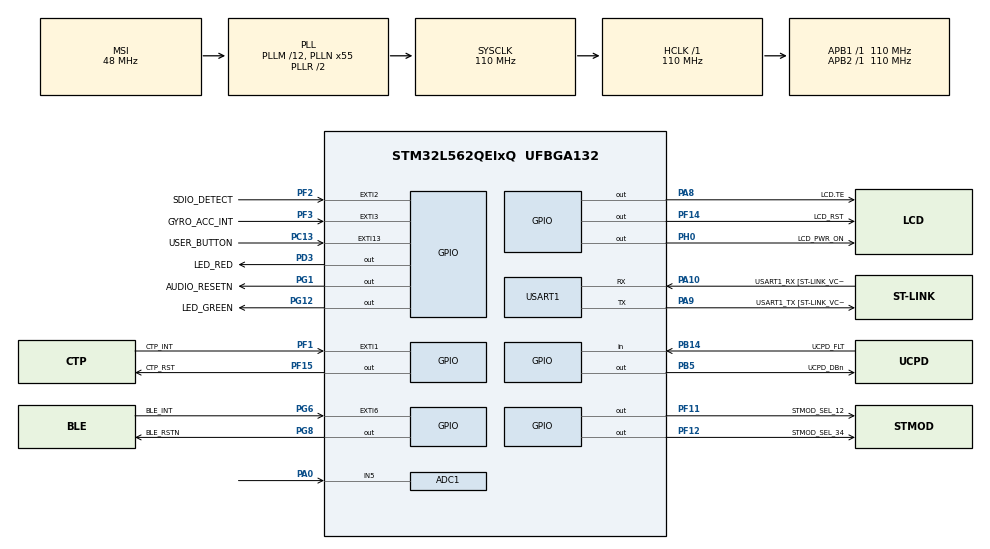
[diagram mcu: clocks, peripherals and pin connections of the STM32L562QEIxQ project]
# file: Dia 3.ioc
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ADC1.Channel-0\#ChannelRegularConversion=ADC_CHANNEL_5
ADC1.NbrOfConversionFlag=1
ADC1.OffsetNumber-0\#ChannelRegularConversion=ADC_OFFSET_NONE
ADC1.Rank-0\#ChannelRegularConversion=1
ADC1.SamplingTime-0\#ChannelRegularConversion=ADC_SAMPLETIME_2CYCLES_5
ADC1.master=1
Mcu.Family=STM32L5
Mcu.Name=STM32L562QEIxQ
Mcu.Package=UFBGA132
Mcu.TrustZone=disable
NVIC.PriorityGroup=NVIC_PRIORITYGROUP_3
PA0.Signal=ADCx_IN5
PA10.GPIO_Label=USART1_RX [ST-LINK_VCP_TX]
PA10.Mode=Asynchronous
PA10.Signal=USART1_RX
PA11.Signal=USB_DM
PA12.Signal=USB_DP
PA13\ (JTMS/SWDIO).Signal=DEBUG_JTMS-SWDIO
PA14\ (JTCK/SWCLK).Signal=DEBUG_JTCK-SWCLK
PA15\ (JTDI).Signal=UCPD1_CC1
PA2.Signal=OCTOSPI1_NCS
PA3.Signal=OCTOSPI1_CLK
PA4.GPIO_Label=VBUS_SENSE
PA4.Signal=ADCx_IN9
PA6.Signal=OCTOSPI1_IO3
PA7.Signal=OCTOSPI1_IO2
PA8.GPIO_Label=LCD.TE
PA8.Signal=GPIO_Output
PA9.GPIO_Label=USART1_TX [ST-LINK_VCP_RX]
PA9.Mode=Asynchronous
PA9.Signal=USART1_TX
PB0.Signal=OCTOSPI1_IO1
PB1.Signal=OCTOSPI1_IO0
PB10.Signal=LPUART1_RX
PB11.Signal=LPUART1_TX
PB12.Signal=S_DATAIN1DFSDM1
PB14.GPIO_Label=UCPD_FLT
PB14.Signal=GPIO_Input
PB15.Signal=UCPD1_CC2
PB2.Signal=OCTOSPI1_DQS
PB3\ (JTDO/TRACESWO).Signal=DEBUG_JTDO-SWO
PB5.GPIO_Label=UCPD_DBn
PB5.Signal=GPIO_Output
PB6.Signal=I2C1_SCL
PB7.Signal=I2C1_SDA
PC0.Signal=OCTOSPI1_IO7
PC1.Signal=OCTOSPI1_IO4
PC10.Signal=SDMMC1_D2
PC11.Signal=SDMMC1_D3
PC12.Signal=SDMMC1_CK
PC13.GPIO_Label=USER_BUTTON
PC13.GPIO_ModeDefaultEXTI=GPIO_MODE_IT_RISING
PC13.Signal=GPXTI13
PC14-OSC32_IN\ (PC14).Signal=RCC_OSC32_IN
PC15-OSC32_OUT\ (PC15).Signal=RCC_OSC32_OUT
PC2.Signal=OCTOSPI1_IO5
PC3.Signal=OCTOSPI1_IO6
PC8.Signal=SDMMC1_D0
PC9.Signal=SDMMC1_D1
PD0.Signal=FMC_D2_DA2
PD1.Signal=FMC_D3_DA3
PD10.Signal=FMC_D15_DA15
PD14.Signal=FMC_D0_DA0
PD15.Signal=FMC_D1_DA1
PD2.Signal=SDMMC1_CMD
PD3.GPIO_Label=LED_RED
PD3.Signal=GPIO_Output
PD4.Signal=FMC_NOE
PD5.Signal=FMC_NWE
PD7.Signal=FMC_NE1
PD8.Signal=FMC_D13_DA13
PD9.Signal=FMC_D14_DA14
PE1.GPIO_Label=LCD_BL_PWM
PE1.Signal=S_TIM17_CH1
PE10.Signal=FMC_D7_DA7
PE11.Signal=FMC_D8_DA8
PE12.Signal=FMC_D9_DA9
PE13.Signal=FMC_D10_DA10
PE14.Signal=FMC_D11_DA11
PE15.Signal=FMC_D12_DA12
PE2.Signal=SAI1_MCLK_A
PE3.Signal=SAI1_SD_B
PE4.Signal=SAI1_FS_A
PE5.Signal=SAI1_SCK_A
PE6.Signal=SAI1_SD_A
PE7.Signal=FMC_D4_DA4
PE8.Signal=FMC_D5_DA5
PE9.Signal=FMC_D6_DA6
PF0.Signal=FMC_A0
PF1.GPIO_Label=CTP_INT
PF1.Signal=GPXTI1
PF11.GPIO_Label=STMOD_SEL_12
PF11.Signal=GPIO_Output
PF12.GPIO_Label=STMOD_SEL_34
PF12.Signal=GPIO_Output
PF14.GPIO_Label=LCD_RST
PF14.Signal=GPIO_Output
PF15.GPIO_Label=CTP_RST
PF15.Signal=GPIO_Output
PF2.GPIO_Label=SDIO_DETECT
PF2.Signal=GPXTI2
PF3.GPIO_Label=GYRO_ACC_INT
PF3.Signal=GPXTI3
PG1.GPIO_Label=AUDIO_RESETN
PG1.Signal=GPIO_Output
PG12.GPIO_Label=LED_GREEN
PG12.Signal=GPIO_Output
PG2.Signal=SPI1_SCK
PG3.Signal=SPI1_MISO
PG4.Signal=SPI1_MOSI
PG5.GPIO_Label=BLE_CSN
PG5.Signal=SPI1_NSS
PG6.GPIO_Label=BLE_INT
PG6.Signal=GPXTI6
PG7.Signal=S_CKOUTDFSDM1
PG8.GPIO_Label=BLE_RSTN
PG8.Signal=GPIO_Output
PH0-OSC_IN\ (PH0).GPIO_Label=LCD_PWR_ON
PH0-OSC_IN\ (PH0).Signal=GPIO_Output
ProjectManager.HeapSize=0x200
ProjectManager.StackSize=0x400
ProjectManager.TargetToolchain=STM32CubeIDE
RCC.ADCFreq_Value=96000000
RCC.AHBFreq_Value=110000000
RCC.APB1Freq_Value=110000000
RCC.APB1TimFreq_Value=110000000
RCC.APB2Freq_Value=110000000
RCC.APB2TimFreq_Value=110000000
RCC.CK48CLockSelection=RCC_USBCLKSOURCE_MSI
RCC.CortexFreq_Value=110000000
RCC.HCLKFreq_Value=110000000
RCC.HSE_VALUE=8000000
RCC.HSI48_VALUE=48000000
RCC.HSI_VALUE=16000000
RCC.LSE_VALUE=32768
RCC.MSIClockRange=RCC_MSIRANGE_11
RCC.MSI_VALUE=48000000
RCC.PLLM=12
RCC.PLLN=55
RCC.PLLSAI1M=4
RCC.PLLSAI1N=48
RCC.PLLSAI1P=RCC_PLLP_DIV17
RCC.PLLSAI1Source=RCC_PLLSAI1SOURCE_HSI
RCC.SDMMCClockSelection=RCC_SDIOCLKSOURCE_CLK48
RCC.SYSCLKFreq_VALUE=110000000
RCC.SYSCLKSource=RCC_SYSCLKSOURCE_PLLCLK
RCC.USBFreq_Value=48000000
RCC.VCOOutputFreq_Value=220000000
SH.ADCx_IN5.0=ADC1_IN5,IN5-Single-Ended
SH.ADCx_IN9.0=ADC1_IN9
SH.FMC_A0.0=FMC_A0
SH.FMC_D0_DA0.0=FMC_DA0
SH.FMC_D0_DA0.1=FMC_D0
SH.FMC_D10_DA10.0=FMC_DA10
SH.FMC_D10_DA10.1=FMC_D10
SH.FMC_D11_DA11.0=FMC_DA11
SH.FMC_D11_DA11.1=FMC_D11
SH.FMC_D12_DA12.0=FMC_DA12
SH.FMC_D12_DA12.1=FMC_D12
SH.FMC_D13_DA13.0=FMC_DA13
SH.FMC_D13_DA13.1=FMC_D13
SH.FMC_D14_DA14.0=FMC_DA14
SH.FMC_D14_DA14.1=FMC_D14
SH.FMC_D15_DA15.0=FMC_DA15
SH.FMC_D15_DA15.1=FMC_D15
SH.FMC_D1_DA1.0=FMC_DA1
SH.FMC_D1_DA1.1=FMC_D1
SH.FMC_D2_DA2.0=FMC_DA2
SH.FMC_D2_DA2.1=FMC_D2
SH.FMC_D3_DA3.0=FMC_DA3
SH.FMC_D3_DA3.1=FMC_D3
SH.FMC_D4_DA4.0=FMC_DA4
SH.FMC_D4_DA4.1=FMC_D4
SH.FMC_D5_DA5.0=FMC_DA5
SH.FMC_D5_DA5.1=FMC_D5
SH.FMC_D6_DA6.0=FMC_DA6
SH.FMC_D6_DA6.1=FMC_D6
SH.FMC_D7_DA7.0=FMC_DA7
SH.FMC_D7_DA7.1=FMC_D7
SH.FMC_D8_DA8.0=FMC_DA8
SH.FMC_D8_DA8.1=FMC_D8
SH.FMC_D9_DA9.0=FMC_DA9
SH.FMC_D9_DA9.1=FMC_D9
SH.FMC_NOE.0=FMC_NOE
SH.FMC_NWE.0=FMC_NWE
SH.S_CKOUTDFSDM1.0=DFSDM1_CKOUT
SH.S_DATAIN1DFSDM1.0=DFSDM1_DATIN1
SH.S_TIM17_CH1.0=TIM17_CH1
USART1.VirtualMode-Asynchronous=VM_ASYNC
VP_ICACHE_VS_ICACHE.Mode=DirectMappedCache
VP_PWR_VS_DBSignals.Mode=DisableDeadBatterySignals
VP_PWR_VS_SECSignals.Mode=Security/Privilege
board=STM32L562E-DK

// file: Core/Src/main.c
/* USER CODE BEGIN Header */
/**
  ******************************************************************************
  * @file           : main.c
  * @brief          : Main program body
  ******************************************************************************
  * @attention
  *
  * Copyright (c) 2025 STMicroelectronics.
  * All rights reserved.
  *
  * This software is licensed under terms that can be found in the LICENSE file
  * in the root directory of this software component.
  * If no LICENSE file comes with this software, it is provided AS-IS.
  *
  ******************************************************************************
  */
/* USER CODE END Header */
#include "main.h"
/* USER CODE BEGIN Includes */
#include <stdio.h>
#include <string.h>
/* USER CODE END Includes */

ADC_HandleTypeDef hadc1;

UART_HandleTypeDef huart1;

void SystemClock_Config(void);
static void MX_GPIO_Init(void);
static void MX_ADC1_Init(void);
static void MX_ICACHE_Init(void);
static void MX_USART1_UART_Init(void);

int main(void)
{

  /* MCU Configuration--------------------------------------------------------*/

  /* Reset of all peripherals, Initializes the Flash interface and the Systick. */
  HAL_Init();

  /* Configure the system clock */
  SystemClock_Config();

  /* Initialize all configured peripherals */
  MX_GPIO_Init();
  MX_ADC1_Init();
  MX_ICACHE_Init();
  MX_USART1_UART_Init();
  /* USER CODE BEGIN 2 */

  uint16_t valor_del_adc = 0;
  char msg[30];
  //float voltaje = 0.0f;

  HAL_GPIO_WritePin(LED_RED_GPIO_Port, LED_RED_Pin, RESET);
  HAL_GPIO_WritePin(LED_GREEN_GPIO_Port, LED_GREEN_Pin, SET);

  /* USER CODE END 2 */

  /* Infinite loop */
  /* USER CODE BEGIN WHILE */
  while (1)
  {

		  HAL_ADC_Start(&hadc1);
		  HAL_ADC_PollForConversion(&hadc1, HAL_MAX_DELAY);
		  valor_del_adc = HAL_ADC_GetValue(&hadc1);
		  HAL_ADC_Stop(&hadc1);

		  //voltaje = (valor_del_adc/4095.f)*3.3f;

		  sprintf(msg, "Valor del adc: %u \r \n", valor_del_adc);
		  HAL_UART_Transmit(&huart1, (uint8_t*)msg, strlen(msg), HAL_MAX_DELAY);

		  HAL_Delay(1000);

		  HAL_GPIO_WritePin(LED_RED_GPIO_Port, LED_RED_Pin, RESET);
		  HAL_GPIO_WritePin(LED_GREEN_GPIO_Port, LED_GREEN_Pin, SET);

    /* USER CODE END WHILE */

  }
}

void SystemClock_Config(void)
{
  RCC_OscInitTypeDef RCC_OscInitStruct = {0};
  RCC_ClkInitTypeDef RCC_ClkInitStruct = {0};

  /** Configure the main internal regulator output voltage
  */
  if (HAL_PWREx_ControlVoltageScaling(PWR_REGULATOR_VOLTAGE_SCALE0) != HAL_OK)
  {
    Error_Handler();
  }

  /** Initializes the RCC Oscillators according to the specified parameters
  * in the RCC_OscInitTypeDef structure.
  */
  RCC_OscInitStruct.OscillatorType = RCC_OSCILLATORTYPE_HSI|RCC_OSCILLATORTYPE_MSI;
  RCC_OscInitStruct.HSIState = RCC_HSI_ON;
  RCC_OscInitStruct.HSICalibrationValue = RCC_HSICALIBRATION_DEFAULT;
  RCC_OscInitStruct.MSIState = RCC_MSI_ON;
  RCC_OscInitStruct.MSICalibrationValue = RCC_MSICALIBRATION_DEFAULT;
  RCC_OscInitStruct.MSIClockRange = RCC_MSIRANGE_11;
  RCC_OscInitStruct.PLL.PLLState = RCC_PLL_ON;
  RCC_OscInitStruct.PLL.PLLSource = RCC_PLLSOURCE_MSI;
  RCC_OscInitStruct.PLL.PLLM = 12;
  RCC_OscInitStruct.PLL.PLLN = 55;
  RCC_OscInitStruct.PLL.PLLP = RCC_PLLP_DIV7;
  RCC_OscInitStruct.PLL.PLLQ = RCC_PLLQ_DIV2;
  RCC_OscInitStruct.PLL.PLLR = RCC_PLLR_DIV2;
  if (HAL_RCC_OscConfig(&RCC_OscInitStruct) != HAL_OK)
  {
    Error_Handler();
  }

  /** Initializes the CPU, AHB and APB buses clocks
  */
  RCC_ClkInitStruct.ClockType = RCC_CLOCKTYPE_HCLK|RCC_CLOCKTYPE_SYSCLK
                              |RCC_CLOCKTYPE_PCLK1|RCC_CLOCKTYPE_PCLK2;
  RCC_ClkInitStruct.SYSCLKSource = RCC_SYSCLKSOURCE_PLLCLK;
  RCC_ClkInitStruct.AHBCLKDivider = RCC_SYSCLK_DIV1;
  RCC_ClkInitStruct.APB1CLKDivider = RCC_HCLK_DIV1;
  RCC_ClkInitStruct.APB2CLKDivider = RCC_HCLK_DIV1;

  if (HAL_RCC_ClockConfig(&RCC_ClkInitStruct, FLASH_LATENCY_5) != HAL_OK)
  {
    Error_Handler();
  }
}

static void MX_ADC1_Init(void)
{

  ADC_MultiModeTypeDef multimode = {0};
  ADC_ChannelConfTypeDef sConfig = {0};

  /** Common config
  */
  hadc1.Instance = ADC1;
  hadc1.Init.ClockPrescaler = ADC_CLOCK_ASYNC_DIV1;
  hadc1.Init.Resolution = ADC_RESOLUTION_12B;
  hadc1.Init.DataAlign = ADC_DATAALIGN_RIGHT;
  hadc1.Init.ScanConvMode = ADC_SCAN_DISABLE;
  hadc1.Init.EOCSelection = ADC_EOC_SINGLE_CONV;
  hadc1.Init.LowPowerAutoWait = DISABLE;
  hadc1.Init.ContinuousConvMode = DISABLE;
  hadc1.Init.NbrOfConversion = 1;
  hadc1.Init.DiscontinuousConvMode = DISABLE;
  hadc1.Init.ExternalTrigConv = ADC_SOFTWARE_START;
  hadc1.Init.ExternalTrigConvEdge = ADC_EXTERNALTRIGCONVEDGE_NONE;
  hadc1.Init.DMAContinuousRequests = DISABLE;
  hadc1.Init.Overrun = ADC_OVR_DATA_PRESERVED;
  hadc1.Init.OversamplingMode = DISABLE;
  if (HAL_ADC_Init(&hadc1) != HAL_OK)
  {
    Error_Handler();
  }

  /** Configure the ADC multi-mode
  */
  multimode.Mode = ADC_MODE_INDEPENDENT;
  if (HAL_ADCEx_MultiModeConfigChannel(&hadc1, &multimode) != HAL_OK)
  {
    Error_Handler();
  }

  /** Configure Regular Channel
  */
  sConfig.Channel = ADC_CHANNEL_5;
  sConfig.Rank = ADC_REGULAR_RANK_1;
  sConfig.SamplingTime = ADC_SAMPLETIME_2CYCLES_5;
  sConfig.SingleDiff = ADC_SINGLE_ENDED;
  sConfig.OffsetNumber = ADC_OFFSET_NONE;
  sConfig.Offset = 0;
  if (HAL_ADC_ConfigChannel(&hadc1, &sConfig) != HAL_OK)
  {
    Error_Handler();
  }

}

static void MX_ICACHE_Init(void)
{

  /** Enable instruction cache in 1-way (direct mapped cache)
  */
  if (HAL_ICACHE_ConfigAssociativityMode(ICACHE_1WAY) != HAL_OK)
  {
    Error_Handler();
  }
  if (HAL_ICACHE_Enable() != HAL_OK)
  {
    Error_Handler();
  }

}

static void MX_USART1_UART_Init(void)
{

  huart1.Instance = USART1;
  huart1.Init.BaudRate = 115200;
  huart1.Init.WordLength = UART_WORDLENGTH_8B;
  huart1.Init.StopBits = UART_STOPBITS_1;
  huart1.Init.Parity = UART_PARITY_NONE;
  huart1.Init.Mode = UART_MODE_TX_RX;
  huart1.Init.HwFlowCtl = UART_HWCONTROL_NONE;
  huart1.Init.OverSampling = UART_OVERSAMPLING_16;
  huart1.Init.OneBitSampling = UART_ONE_BIT_SAMPLE_DISABLE;
  huart1.Init.ClockPrescaler = UART_PRESCALER_DIV1;
  huart1.AdvancedInit.AdvFeatureInit = UART_ADVFEATURE_NO_INIT;
  if (HAL_UART_Init(&huart1) != HAL_OK)
  {
    Error_Handler();
  }
  if (HAL_UARTEx_SetTxFifoThreshold(&huart1, UART_TXFIFO_THRESHOLD_1_8) != HAL_OK)
  {
    Error_Handler();
  }
  if (HAL_UARTEx_SetRxFifoThreshold(&huart1, UART_RXFIFO_THRESHOLD_1_8) != HAL_OK)
  {
    Error_Handler();
  }
  if (HAL_UARTEx_DisableFifoMode(&huart1) != HAL_OK)
  {
    Error_Handler();
  }

}

static void MX_GPIO_Init(void)
{
  GPIO_InitTypeDef GPIO_InitStruct = {0};

  /* GPIO Ports Clock Enable */
  __HAL_RCC_GPIOE_CLK_ENABLE();
  __HAL_RCC_GPIOB_CLK_ENABLE();
  __HAL_RCC_GPIOG_CLK_ENABLE();
  HAL_PWREx_EnableVddIO2();
  __HAL_RCC_GPIOD_CLK_ENABLE();
  __HAL_RCC_GPIOC_CLK_ENABLE();
  __HAL_RCC_GPIOA_CLK_ENABLE();
  __HAL_RCC_GPIOF_CLK_ENABLE();
  __HAL_RCC_GPIOH_CLK_ENABLE();

  /*Configure GPIO pin Output Level */
  HAL_GPIO_WritePin(GPIOG, LED_GREEN_Pin|BLE_RSTN_Pin|AUDIO_RESETN_Pin, GPIO_PIN_RESET);

  /*Configure GPIO pin Output Level */
  HAL_GPIO_WritePin(LED_RED_GPIO_Port, LED_RED_Pin, GPIO_PIN_RESET);

  /*Configure GPIO pin Output Level */
  HAL_GPIO_WritePin(UCPD_DBn_GPIO_Port, UCPD_DBn_Pin, GPIO_PIN_RESET);

  /*Configure GPIO pin Output Level */
  HAL_GPIO_WritePin(LCD_TE_GPIO_Port, LCD_TE_Pin, GPIO_PIN_RESET);

  /*Configure GPIO pin Output Level */
  HAL_GPIO_WritePin(LCD_PWR_ON_GPIO_Port, LCD_PWR_ON_Pin, GPIO_PIN_RESET);

  /*Configure GPIO pin Output Level */
  HAL_GPIO_WritePin(GPIOF, LCD_RST_Pin|STMOD_SEL_12_Pin|STMOD_SEL_34_Pin|CTP_RST_Pin, GPIO_PIN_RESET);

  /*Configure GPIO pins : PE5 PE3 PE4 PE2
                           PE6 */
  GPIO_InitStruct.Pin = GPIO_PIN_5|GPIO_PIN_3|GPIO_PIN_4|GPIO_PIN_2
                          |GPIO_PIN_6;
  GPIO_InitStruct.Mode = GPIO_MODE_AF_PP;
  GPIO_InitStruct.Pull = GPIO_NOPULL;
  GPIO_InitStruct.Speed = GPIO_SPEED_FREQ_LOW;
  GPIO_InitStruct.Alternate = GPIO_AF13_SAI1;
  HAL_GPIO_Init(GPIOE, &GPIO_InitStruct);

  /*Configure GPIO pin : LCD_BL_PWM_Pin */
  GPIO_InitStruct.Pin = LCD_BL_PWM_Pin;
  GPIO_InitStruct.Mode = GPIO_MODE_AF_PP;
  GPIO_InitStruct.Pull = GPIO_NOPULL;
  GPIO_InitStruct.Speed = GPIO_SPEED_FREQ_LOW;
  GPIO_InitStruct.Alternate = GPIO_AF14_TIM17;
  HAL_GPIO_Init(LCD_BL_PWM_GPIO_Port, &GPIO_InitStruct);

  /*Configure GPIO pins : PB6 PB7 */
  GPIO_InitStruct.Pin = GPIO_PIN_6|GPIO_PIN_7;
  GPIO_InitStruct.Mode = GPIO_MODE_AF_OD;
  GPIO_InitStruct.Pull = GPIO_NOPULL;
  GPIO_InitStruct.Speed = GPIO_SPEED_FREQ_LOW;
  GPIO_InitStruct.Alternate = GPIO_AF4_I2C1;
  HAL_GPIO_Init(GPIOB, &GPIO_InitStruct);

  /*Configure GPIO pins : LED_GREEN_Pin BLE_RSTN_Pin AUDIO_RESETN_Pin */
  GPIO_InitStruct.Pin = LED_GREEN_Pin|BLE_RSTN_Pin|AUDIO_RESETN_Pin;
  GPIO_InitStruct.Mode = GPIO_MODE_OUTPUT_PP;
  GPIO_InitStruct.Pull = GPIO_NOPULL;
  GPIO_InitStruct.Speed = GPIO_SPEED_FREQ_LOW;
  HAL_GPIO_Init(GPIOG, &GPIO_InitStruct);

  /*Configure GPIO pins : PD5 PD4 PD1 PD0
                           PD7 PD14 PD15 PD9
                           PD8 PD10 */
  GPIO_InitStruct.Pin = GPIO_PIN_5|GPIO_PIN_4|GPIO_PIN_1|GPIO_PIN_0
                          |GPIO_PIN_7|GPIO_PIN_14|GPIO_PIN_15|GPIO_PIN_9
                          |GPIO_PIN_8|GPIO_PIN_10;
  GPIO_InitStruct.Mode = GPIO_MODE_AF_PP;
  GPIO_InitStruct.Pull = GPIO_NOPULL;
  GPIO_InitStruct.Speed = GPIO_SPEED_FREQ_VERY_HIGH;
  GPIO_InitStruct.Alternate = GPIO_AF12_FMC;
  HAL_GPIO_Init(GPIOD, &GPIO_InitStruct);

  /*Configure GPIO pin : PD2 */
  GPIO_InitStruct.Pin = GPIO_PIN_2;
  GPIO_InitStruct.Mode = GPIO_MODE_AF_PP;
  GPIO_InitStruct.Pull = GPIO_NOPULL;
  GPIO_InitStruct.Speed = GPIO_SPEED_FREQ_VERY_HIGH;
  GPIO_InitStruct.Alternate = GPIO_AF12_SDMMC1;
  HAL_GPIO_Init(GPIOD, &GPIO_InitStruct);

  /*Configure GPIO pins : PC11 PC12 PC10 PC9
                           PC8 */
  GPIO_InitStruct.Pin = GPIO_PIN_11|GPIO_PIN_12|GPIO_PIN_10|GPIO_PIN_9
                          |GPIO_PIN_8;
  GPIO_InitStruct.Mode = GPIO_MODE_AF_PP;
  GPIO_InitStruct.Pull = GPIO_NOPULL;
  GPIO_InitStruct.Speed = GPIO_SPEED_FREQ_VERY_HIGH;
  GPIO_InitStruct.Alternate = GPIO_AF12_SDMMC1;
  HAL_GPIO_Init(GPIOC, &GPIO_InitStruct);

  /*Configure GPIO pin : PA15 */
  GPIO_InitStruct.Pin = GPIO_PIN_15;
  GPIO_InitStruct.Mode = GPIO_MODE_ANALOG;
  GPIO_InitStruct.Pull = GPIO_NOPULL;
  HAL_GPIO_Init(GPIOA, &GPIO_InitStruct);

  /*Configure GPIO pins : PA12 PA11 */
  GPIO_InitStruct.Pin = GPIO_PIN_12|GPIO_PIN_11;
  GPIO_InitStruct.Mode = GPIO_MODE_AF_PP;
  GPIO_InitStruct.Pull = GPIO_NOPULL;
  GPIO_InitStruct.Speed = GPIO_SPEED_FREQ_LOW;
  GPIO_InitStruct.Alternate = GPIO_AF10_USB;
  HAL_GPIO_Init(GPIOA, &GPIO_InitStruct);

  /*Configure GPIO pin : USER_BUTTON_Pin */
  GPIO_InitStruct.Pin = USER_BUTTON_Pin;
  GPIO_InitStruct.Mode = GPIO_MODE_IT_RISING;
  GPIO_InitStruct.Pull = GPIO_NOPULL;
  HAL_GPIO_Init(USER_BUTTON_GPIO_Port, &GPIO_InitStruct);

  /*Configure GPIO pin : LED_RED_Pin */
  GPIO_InitStruct.Pin = LED_RED_Pin;
  GPIO_InitStruct.Mode = GPIO_MODE_OUTPUT_PP;
  GPIO_InitStruct.Pull = GPIO_NOPULL;
  GPIO_InitStruct.Speed = GPIO_SPEED_FREQ_LOW;
  HAL_GPIO_Init(LED_RED_GPIO_Port, &GPIO_InitStruct);

  /*Configure GPIO pin : PF0 */
  GPIO_InitStruct.Pin = GPIO_PIN_0;
  GPIO_InitStruct.Mode = GPIO_MODE_AF_PP;
  GPIO_InitStruct.Pull = GPIO_NOPULL;
  GPIO_InitStruct.Speed = GPIO_SPEED_FREQ_VERY_HIGH;
  GPIO_InitStruct.Alternate = GPIO_AF12_FMC;
  HAL_GPIO_Init(GPIOF, &GPIO_InitStruct);

  /*Configure GPIO pins : GYRO_ACC_INT_Pin SDIO_DETECT_Pin CTP_INT_Pin */
  GPIO_InitStruct.Pin = GYRO_ACC_INT_Pin|SDIO_DETECT_Pin|CTP_INT_Pin;
  GPIO_InitStruct.Mode = GPIO_MODE_IT_RISING;
  GPIO_InitStruct.Pull = GPIO_NOPULL;
  HAL_GPIO_Init(GPIOF, &GPIO_InitStruct);

  /*Configure GPIO pin : UCPD_DBn_Pin */
  GPIO_InitStruct.Pin = UCPD_DBn_Pin;
  GPIO_InitStruct.Mode = GPIO_MODE_OUTPUT_PP;
  GPIO_InitStruct.Pull = GPIO_NOPULL;
  GPIO_InitStruct.Speed = GPIO_SPEED_FREQ_LOW;
  HAL_GPIO_Init(UCPD_DBn_GPIO_Port, &GPIO_InitStruct);

  /*Configure GPIO pin : LCD_TE_Pin */
  GPIO_InitStruct.Pin = LCD_TE_Pin;
  GPIO_InitStruct.Mode = GPIO_MODE_OUTPUT_PP;
  GPIO_InitStruct.Pull = GPIO_NOPULL;
  GPIO_InitStruct.Speed = GPIO_SPEED_FREQ_LOW;
  HAL_GPIO_Init(LCD_TE_GPIO_Port, &GPIO_InitStruct);

  /*Configure GPIO pin : LCD_PWR_ON_Pin */
  GPIO_InitStruct.Pin = LCD_PWR_ON_Pin;
  GPIO_InitStruct.Mode = GPIO_MODE_OUTPUT_PP;
  GPIO_InitStruct.Pull = GPIO_NOPULL;
  GPIO_InitStruct.Speed = GPIO_SPEED_FREQ_LOW;
  HAL_GPIO_Init(LCD_PWR_ON_GPIO_Port, &GPIO_InitStruct);

  /*Configure GPIO pins : PC2 PC3 PC1 */
  GPIO_InitStruct.Pin = GPIO_PIN_2|GPIO_PIN_3|GPIO_PIN_1;
  GPIO_InitStruct.Mode = GPIO_MODE_AF_PP;
  GPIO_InitStruct.Pull = GPIO_NOPULL;
  GPIO_InitStruct.Speed = GPIO_SPEED_FREQ_VERY_HIGH;
  GPIO_InitStruct.Alternate = GPIO_AF10_OCTOSPI1;
  HAL_GPIO_Init(GPIOC, &GPIO_InitStruct);

  /*Configure GPIO pin : BLE_INT_Pin */
  GPIO_InitStruct.Pin = BLE_INT_Pin;
  GPIO_InitStruct.Mode = GPIO_MODE_IT_RISING;
  GPIO_InitStruct.Pull = GPIO_NOPULL;
  HAL_GPIO_Init(BLE_INT_GPIO_Port, &GPIO_InitStruct);

  /*Configure GPIO pin : PG7 */
  GPIO_InitStruct.Pin = GPIO_PIN_7;
  GPIO_InitStruct.Mode = GPIO_MODE_AF_PP;
  GPIO_InitStruct.Pull = GPIO_NOPULL;
  GPIO_InitStruct.Speed = GPIO_SPEED_FREQ_LOW;
  GPIO_InitStruct.Alternate = GPIO_AF6_DFSDM1;
  HAL_GPIO_Init(GPIOG, &GPIO_InitStruct);

  /*Configure GPIO pins : PG4 PG2 PG3 BLE_CSN_Pin */
  GPIO_InitStruct.Pin = GPIO_PIN_4|GPIO_PIN_2|GPIO_PIN_3|BLE_CSN_Pin;
  GPIO_InitStruct.Mode = GPIO_MODE_AF_PP;
  GPIO_InitStruct.Pull = GPIO_NOPULL;
  GPIO_InitStruct.Speed = GPIO_SPEED_FREQ_LOW;
  GPIO_InitStruct.Alternate = GPIO_AF5_SPI1;
  HAL_GPIO_Init(GPIOG, &GPIO_InitStruct);

  /*Configure GPIO pin : PC0 */
  GPIO_InitStruct.Pin = GPIO_PIN_0;
  GPIO_InitStruct.Mode = GPIO_MODE_AF_PP;
  GPIO_InitStruct.Pull = GPIO_NOPULL;
  GPIO_InitStruct.Speed = GPIO_SPEED_FREQ_VERY_HIGH;
  GPIO_InitStruct.Alternate = GPIO_AF3_OCTOSPI1;
  HAL_GPIO_Init(GPIOC, &GPIO_InitStruct);

  /*Configure GPIO pins : LCD_RST_Pin STMOD_SEL_12_Pin STMOD_SEL_34_Pin CTP_RST_Pin */
  GPIO_InitStruct.Pin = LCD_RST_Pin|STMOD_SEL_12_Pin|STMOD_SEL_34_Pin|CTP_RST_Pin;
  GPIO_InitStruct.Mode = GPIO_MODE_OUTPUT_PP;
  GPIO_InitStruct.Pull = GPIO_NOPULL;
  GPIO_InitStruct.Speed = GPIO_SPEED_FREQ_LOW;
  HAL_GPIO_Init(GPIOF, &GPIO_InitStruct);

  /*Configure GPIO pins : PE8 PE10 PE12 PE7
                           PE14 PE11 PE15 PE9
                           PE13 */
  GPIO_InitStruct.Pin = GPIO_PIN_8|GPIO_PIN_10|GPIO_PIN_12|GPIO_PIN_7
                          |GPIO_PIN_14|GPIO_PIN_11|GPIO_PIN_15|GPIO_PIN_9
                          |GPIO_PIN_13;
  GPIO_InitStruct.Mode = GPIO_MODE_AF_PP;
  GPIO_InitStruct.Pull = GPIO_NOPULL;
  GPIO_InitStruct.Speed = GPIO_SPEED_FREQ_VERY_HIGH;
  GPIO_InitStruct.Alternate = GPIO_AF12_FMC;
  HAL_GPIO_Init(GPIOE, &GPIO_InitStruct);

  /*Configure GPIO pins : PA2 PA7 PA3 PA6 */
  GPIO_InitStruct.Pin = GPIO_PIN_2|GPIO_PIN_7|GPIO_PIN_3|GPIO_PIN_6;
  GPIO_InitStruct.Mode = GPIO_MODE_AF_PP;
  GPIO_InitStruct.Pull = GPIO_NOPULL;
  GPIO_InitStruct.Speed = GPIO_SPEED_FREQ_VERY_HIGH;
  GPIO_InitStruct.Alternate = GPIO_AF10_OCTOSPI1;
  HAL_GPIO_Init(GPIOA, &GPIO_InitStruct);

  /*Configure GPIO pins : PB2 PB1 PB0 */
  GPIO_InitStruct.Pin = GPIO_PIN_2|GPIO_PIN_1|GPIO_PIN_0;
  GPIO_InitStruct.Mode = GPIO_MODE_AF_PP;
  GPIO_InitStruct.Pull = GPIO_NOPULL;
  GPIO_InitStruct.Speed = GPIO_SPEED_FREQ_VERY_HIGH;
  GPIO_InitStruct.Alternate = GPIO_AF10_OCTOSPI1;
  HAL_GPIO_Init(GPIOB, &GPIO_InitStruct);

  /*Configure GPIO pins : PB10 PB11 */
  GPIO_InitStruct.Pin = GPIO_PIN_10|GPIO_PIN_11;
  GPIO_InitStruct.Mode = GPIO_MODE_AF_PP;
  GPIO_InitStruct.Pull = GPIO_NOPULL;
  GPIO_InitStruct.Speed = GPIO_SPEED_FREQ_LOW;
  GPIO_InitStruct.Alternate = GPIO_AF8_LPUART1;
  HAL_GPIO_Init(GPIOB, &GPIO_InitStruct);

  /*Configure GPIO pin : UCPD_FLT_Pin */
  GPIO_InitStruct.Pin = UCPD_FLT_Pin;
  GPIO_InitStruct.Mode = GPIO_MODE_INPUT;
  GPIO_InitStruct.Pull = GPIO_NOPULL;
  HAL_GPIO_Init(UCPD_FLT_GPIO_Port, &GPIO_InitStruct);

  /*Configure GPIO pin : PB15 */
  GPIO_InitStruct.Pin = GPIO_PIN_15;
  GPIO_InitStruct.Mode = GPIO_MODE_ANALOG;
  GPIO_InitStruct.Pull = GPIO_NOPULL;
  HAL_GPIO_Init(GPIOB, &GPIO_InitStruct);

  /*Configure GPIO pin : PB12 */
  GPIO_InitStruct.Pin = GPIO_PIN_12;
  GPIO_InitStruct.Mode = GPIO_MODE_AF_PP;
  GPIO_InitStruct.Pull = GPIO_NOPULL;
  GPIO_InitStruct.Speed = GPIO_SPEED_FREQ_LOW;
  GPIO_InitStruct.Alternate = GPIO_AF6_DFSDM1;
  HAL_GPIO_Init(GPIOB, &GPIO_InitStruct);

}

void HAL_GPIO_EXTI_Rising_Callback(uint16_t GPIO_Pin){

	if(GPIO_Pin == USER_BUTTON_Pin){
		HAL_GPIO_WritePin(LED_RED_GPIO_Port, LED_RED_Pin, SET); //Apaga
		HAL_GPIO_WritePin(LED_GREEN_GPIO_Port, LED_GREEN_Pin, RESET); //Enciende

	}

}

void Error_Handler(void)
{
  __disable_irq();
  while (1)
  {
  }
}
